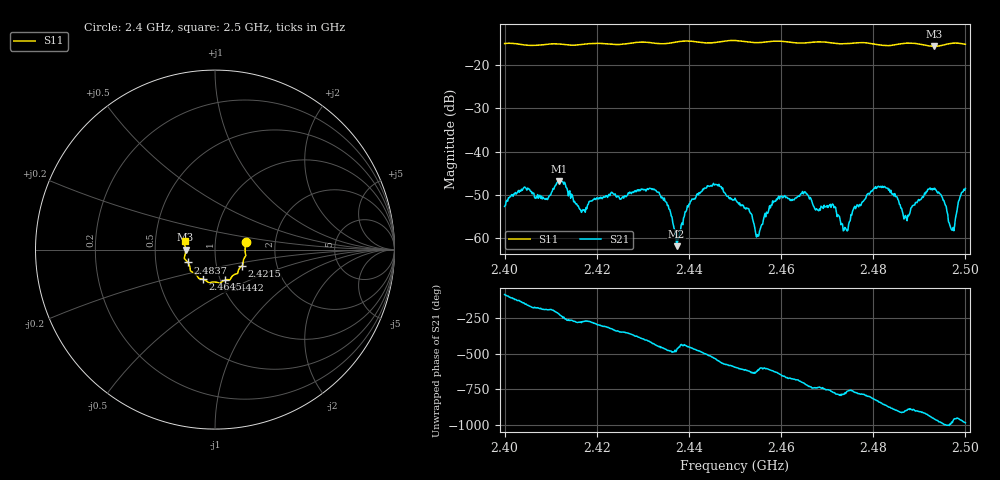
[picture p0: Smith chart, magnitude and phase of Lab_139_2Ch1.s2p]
# Hz S RI R 50
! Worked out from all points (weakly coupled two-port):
!   601 points, 2.4 GHz to 2.5 GHz, reference 50 ohm
!   highest |S21| = -46.80 dB at 2.4118 GHz (marker M1); lowest = -61.8 dB at 2.4373 GHz (marker M2)
!   lowest |S11| = -15.7 dB at 2.4932 GHz (marker M3), VSWR 1.39, Z = 35.9 - j0.0571 ohm
!   |S11| at or under -10 dB: start of sweep to end of sweep
!   S12 and S22 are empty: the file has one direction only
!   S11 on the Smith chart (normalised r, x): 2.4 GHz: 1.41, +0.12; 2.4215 GHz: 1.33, -0.25; 2.4442 GHz: 1.05, -0.37; 2.4645 GHz: 0.83, -0.29; 2.4837 GHz: 0.73, -0.11; 2.5 GHz: 0.71, +0.07
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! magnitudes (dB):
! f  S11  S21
! 2.4 GHz  -15.1  -52.6
! 2.4118 GHz  -15.2  -46.8
! 2.4167 GHz  -15.3  -54.0
! 2.4215 GHz  -15.1  -50.4
! 2.4333 GHz  -15.1  -49.4
! 2.4373 GHz  -14.7  -61.8
! 2.4402 GHz  -14.5  -52.1
! 2.4442 GHz  -15.0  -47.9
! 2.45 GHz  -14.4  -50.8
! 2.455 GHz  -14.9  -59.5
! 2.4587 GHz  -14.5  -51.5
! 2.4645 GHz  -15.0  -49.6
! 2.4667 GHz  -14.8  -51.5
! 2.4713 GHz  -15.0  -52.3
! 2.474 GHz  -15.1  -57.7
! 2.48 GHz  -15.2  -48.8
! 2.4833 GHz  -15.6  -48.9
! 2.4837 GHz  -15.5  -49.4
! 2.4872 GHz  -15.0  -55.3
! 2.4932 GHz  -15.7  -48.7
! 2.4972 GHz  -15.0  -58.2
! 2.5 GHz  -15.3  -48.5
